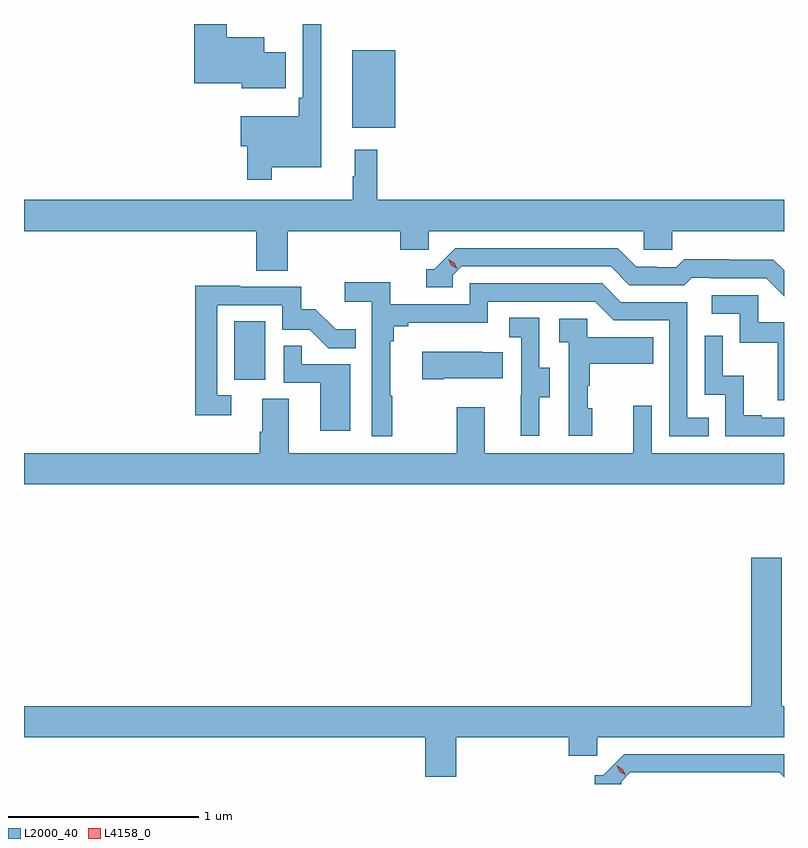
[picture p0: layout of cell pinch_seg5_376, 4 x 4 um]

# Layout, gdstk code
import gdstk
lib = gdstk.Library(unit=1e-6, precision=1e-09)
def R(c, l, rs):  # rectangles x0, y0, x1, y1
    for r in rs: c.add(gdstk.rectangle(r[:2], r[2:], *l))
def P(c, l, *ps):  # polygons
    for p in ps: c.add(gdstk.Polygon(p, *l))
L2000_40 = (2000, 40)
L4158_0 = (4158, 0)

pinch_seg5_376 = lib.new_cell('pinch_seg5_376')
R(pinch_seg5_376, L2000_40, [(952.088,881.286,952.252,881.593), (952.709,882.611,952.936,883.021)])
P(pinch_seg5_376, L2000_40, [(952.285,882.404),(952.546,882.404),(952.546,883.158),(952.449,883.158),(952.449,882.769),(952.429,882.769),(952.429,882.673),(952.122,882.673),(952.122,882.515),(952.156,882.515),(952.156,882.339),(952.285,882.339)],
  [(952.36,883.009),(952.246,883.009),(952.246,883.087),(952.048,883.087),(952.048,883.158),(951.878,883.158),(951.878,882.845),(952.128,882.845),(952.128,882.821),(952.36,882.821)],
  [(952.37,882.068),(952.961,882.068),(952.961,881.97),(953.112,881.97),(953.112,882.068),(954.243,882.068),(954.243,881.97),(954.393,881.97),(954.393,882.068),(954.982,882.068),(954.982,882.232),(952.841,882.232),(952.841,882.496),(952.724,882.496),(952.724,882.356),(952.713,882.356),(952.713,882.232),(950.982,882.232),(950.982,882.068),(952.205,882.068),(952.205,881.86),(952.37,881.86)],
  [(954.982,881.861),(954.926,881.917),(954.69,881.917),(954.69,881.92),(954.457,881.92),(954.415,881.877),(954.312,881.877),(954.312,881.88),(954.205,881.88),(954.106,881.979),(953.253,881.979),(953.142,881.868),(953.099,881.868),(953.099,881.772),(953.238,881.772),(953.238,881.835),(953.286,881.883),(954.069,881.883),(954.168,881.784),(954.457,881.784),(954.496,881.823),(954.595,881.823),(954.595,881.82),(954.888,881.82),(954.982,881.726)],
  [(952.921,881.201),(952.909,881.201),(952.909,881.489),(952.928,881.489),(952.928,881.566),(953.005,881.566),(953.005,881.585),(953.424,881.585),(953.424,881.697),(953.988,881.697),(954.087,881.598),(954.378,881.598),(954.378,880.989),(954.587,880.989),(954.587,881.085),(954.474,881.085),(954.474,881.694),(954.124,881.694),(954.025,881.793),(953.328,881.793),(953.328,881.682),(952.91,881.682),(952.91,881.798),(952.671,881.798),(952.671,881.696),(952.812,881.696),(952.812,880.989),(952.921,880.989)],
  [(952.072,881.205),(951.999,881.205),(951.999,881.679),(952.341,881.679),(952.341,881.55),(952.485,881.55),(952.583,881.452),(952.727,881.452),(952.727,881.551),(952.623,881.551),(952.516,881.658),(952.44,881.658),(952.44,881.775),(952.121,881.775),(952.121,881.78),(951.883,881.78),(951.883,881.1),(952.072,881.1)],
  [(954.982,881.589),(954.846,881.589),(954.846,881.73),(954.603,881.73),(954.603,881.634),(954.75,881.634),(954.75,881.481),(954.949,881.481),(954.949,881.178),(954.982,881.178)],
  [(953.695,881.194),(953.749,881.194),(953.749,881.349),(953.694,881.349),(953.694,881.612),(953.535,881.612),(953.535,881.509),(953.598,881.509),(953.598,881.205),(953.597,881.205),(953.597,880.992),(953.695,880.992)],
  [(953.974,881.136),(953.949,881.136),(953.949,881.255),(953.959,881.255),(953.959,881.369),(954.293,881.369),(954.293,881.509),(953.946,881.509),(953.946,881.607),(953.799,881.607),(953.799,881.483),(953.85,881.483),(953.85,880.992),(953.974,880.992)],
  [(954.982,881.085),(954.865,881.085),(954.865,881.098),(954.77,881.098),(954.77,881.306),(954.66,881.306),(954.66,881.518),(954.564,881.518),(954.564,881.208),(954.672,881.208),(954.672,880.989),(954.982,880.989)],
  [(952.699,881.367),(952.445,881.367),(952.445,881.465),(952.35,881.465),(952.35,881.271),(952.541,881.271),(952.541,881.016),(952.699,881.016)],
  [(953.191,881.294),(953.501,881.294),(953.501,881.431),(953.393,881.431),(953.393,881.434),(953.079,881.434),(953.079,881.287),(953.191,881.287)],
  [(954.982,880.9),(954.285,880.9),(954.285,881.149),(954.188,881.149),(954.188,880.9),(953.407,880.9),(953.407,881.14),(953.26,881.14),(953.26,880.9),(952.375,880.9),(952.375,881.186),(952.235,881.186),(952.235,881.012),(952.223,881.012),(952.223,880.9),(950.982,880.9),(950.982,880.736),(954.982,880.736)],
  [(953.258,879.404),(953.849,879.404),(953.849,879.306),(954,879.306),(954,879.404),(954.982,879.404),(954.982,879.568),(954.969,879.568),(954.969,880.348),(954.809,880.348),(954.809,879.568),(950.982,879.568),(950.982,879.404),(953.093,879.404),(953.093,879.196),(953.258,879.196)],
  [(954.126,879.171),(954.174,879.219),(954.957,879.219),(954.982,879.194),(954.982,879.315),(954.141,879.315),(954.03,879.204),(953.987,879.204),(953.987,879.158),(954.126,879.158)])
P(pinch_seg5_376, L4158_0, [(954.148,879.203),(954.117,879.223),(954.102,879.256),(954.102,879.256),(954.102,879.256),(954.132,879.236),(954.148,879.203),(954.148,879.203)],
  [(953.262,881.869),(953.231,881.888),(953.215,881.921),(953.215,881.921),(953.215,881.921),(953.246,881.902),(953.262,881.87),(953.262,881.869)])

lib.write_gds('pinch_seg5_376.gds')
